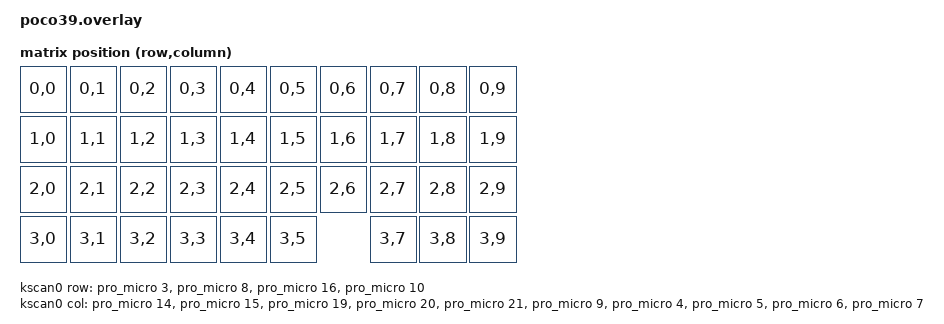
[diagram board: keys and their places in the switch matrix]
/*
 * Poco39 - 4x10 matrix, 39 keys (bottom row missing col 6)
 * MCU: Nice Nano v2
 */

#include <dt-bindings/zmk/matrix_transform.h>
#include <physical_layouts.dtsi>

/ {
    chosen {
        zmk,kscan = &kscan0;
        zmk,physical-layout = &physical_layout0;
    };

    default_transform: keymap_transform_0 {
        compatible = "zmk,matrix-transform";
        columns = <10>;
        rows = <4>;
        /*
         * Row 0: 10 keys  (cols 0-9)
         * Row 1: 10 keys  (cols 0-9)
         * Row 2: 10 keys  (cols 0-9)
         * Row 3:  9 keys  (cols 0-5, 7-9 — col 6 is empty)
         *
         * RC(row, col)
         */
        map = <
            RC(0,0) RC(0,1) RC(0,2) RC(0,3) RC(0,4) RC(0,5) RC(0,6) RC(0,7) RC(0,8) RC(0,9)
            RC(1,0) RC(1,1) RC(1,2) RC(1,3) RC(1,4) RC(1,5) RC(1,6) RC(1,7) RC(1,8) RC(1,9)
            RC(2,0) RC(2,1) RC(2,2) RC(2,3) RC(2,4) RC(2,5) RC(2,6) RC(2,7) RC(2,8) RC(2,9)
            RC(3,0) RC(3,1) RC(3,2) RC(3,3) RC(3,4) RC(3,5)         RC(3,7) RC(3,8) RC(3,9)
        >;
    };

    physical_layout0: physical_layout_0 {
        compatible = "zmk,physical-layout";
        display-name = "Default";
        transform = <&default_transform>;
        kscan = <&kscan0>;

        /*
         * All keys are 1U (100 centi-keyunits). Positions in centi-keyunits.
         * Row 3 has a blank at col 6 (x=600); keys resume at col 7 (x=700).
         *
         * <&key_physical_attrs w   h    x    y  r  rx ry>
         */
        keys =
            /* Row 0 */
            <&key_physical_attrs 100 100    0    0  0  0  0>
          , <&key_physical_attrs 100 100  100    0  0  0  0>
          , <&key_physical_attrs 100 100  200    0  0  0  0>
          , <&key_physical_attrs 100 100  300    0  0  0  0>
          , <&key_physical_attrs 100 100  400    0  0  0  0>
          , <&key_physical_attrs 100 100  500    0  0  0  0>
          , <&key_physical_attrs 100 100  600    0  0  0  0>
          , <&key_physical_attrs 100 100  700    0  0  0  0>
          , <&key_physical_attrs 100 100  800    0  0  0  0>
          , <&key_physical_attrs 100 100  900    0  0  0  0>
            /* Row 1 */
          , <&key_physical_attrs 100 100    0  100  0  0  0>
          , <&key_physical_attrs 100 100  100  100  0  0  0>
          , <&key_physical_attrs 100 100  200  100  0  0  0>
          , <&key_physical_attrs 100 100  300  100  0  0  0>
          , <&key_physical_attrs 100 100  400  100  0  0  0>
          , <&key_physical_attrs 100 100  500  100  0  0  0>
          , <&key_physical_attrs 100 100  600  100  0  0  0>
          , <&key_physical_attrs 100 100  700  100  0  0  0>
          , <&key_physical_attrs 100 100  800  100  0  0  0>
          , <&key_physical_attrs 100 100  900  100  0  0  0>
            /* Row 2 */
          , <&key_physical_attrs 100 100    0  200  0  0  0>
          , <&key_physical_attrs 100 100  100  200  0  0  0>
          , <&key_physical_attrs 100 100  200  200  0  0  0>
          , <&key_physical_attrs 100 100  300  200  0  0  0>
          , <&key_physical_attrs 100 100  400  200  0  0  0>
          , <&key_physical_attrs 100 100  500  200  0  0  0>
          , <&key_physical_attrs 100 100  600  200  0  0  0>
          , <&key_physical_attrs 100 100  700  200  0  0  0>
          , <&key_physical_attrs 100 100  800  200  0  0  0>
          , <&key_physical_attrs 100 100  900  200  0  0  0>
            /* Row 3 — col 6 (x=600) is absent */
          , <&key_physical_attrs 100 100    0  300  0  0  0>
          , <&key_physical_attrs 100 100  100  300  0  0  0>
          , <&key_physical_attrs 100 100  200  300  0  0  0>
          , <&key_physical_attrs 100 100  300  300  0  0  0>
          , <&key_physical_attrs 100 100  400  300  0  0  0>
          , <&key_physical_attrs 100 100  500  300  0  0  0>
          , <&key_physical_attrs 100 100  700  300  0  0  0>
          , <&key_physical_attrs 100 100  800  300  0  0  0>
          , <&key_physical_attrs 100 100  900  300  0  0  0>
          ;
    };

    kscan0: kscan {
        compatible = "zmk,kscan-gpio-matrix";
        label = "KSCAN";
        diode-direction = "col2row";

        col-gpios
            = <&pro_micro 14 GPIO_ACTIVE_HIGH>  /* col 0 — D14 */
            , <&pro_micro 15 GPIO_ACTIVE_HIGH>  /* col 1 — D15 */
            , <&pro_micro 19 GPIO_ACTIVE_HIGH>  /* col 2 — D19 */
            , <&pro_micro 20 GPIO_ACTIVE_HIGH>  /* col 3 — D20 */
            , <&pro_micro 21 GPIO_ACTIVE_HIGH>  /* col 4 — D21 */
            , <&pro_micro  9 GPIO_ACTIVE_HIGH>  /* col 5 — D9  */
            , <&pro_micro  4 GPIO_ACTIVE_HIGH>  /* col 6 — D4  */
            , <&pro_micro  5 GPIO_ACTIVE_HIGH>  /* col 7 — D5  */
            , <&pro_micro  6 GPIO_ACTIVE_HIGH>  /* col 8 — D6  */
            , <&pro_micro  7 GPIO_ACTIVE_HIGH>  /* col 9 — D7  */
            ;

        row-gpios
            = <&pro_micro  3 (GPIO_ACTIVE_HIGH | GPIO_PULL_DOWN)>  /* row 0 — D3  */
            , <&pro_micro  8 (GPIO_ACTIVE_HIGH | GPIO_PULL_DOWN)>  /* row 1 — D8  */
            , <&pro_micro 16 (GPIO_ACTIVE_HIGH | GPIO_PULL_DOWN)>  /* row 2 — D16 */
            , <&pro_micro 10 (GPIO_ACTIVE_HIGH | GPIO_PULL_DOWN)>  /* row 3 — D10 */
            ;
    };
};
